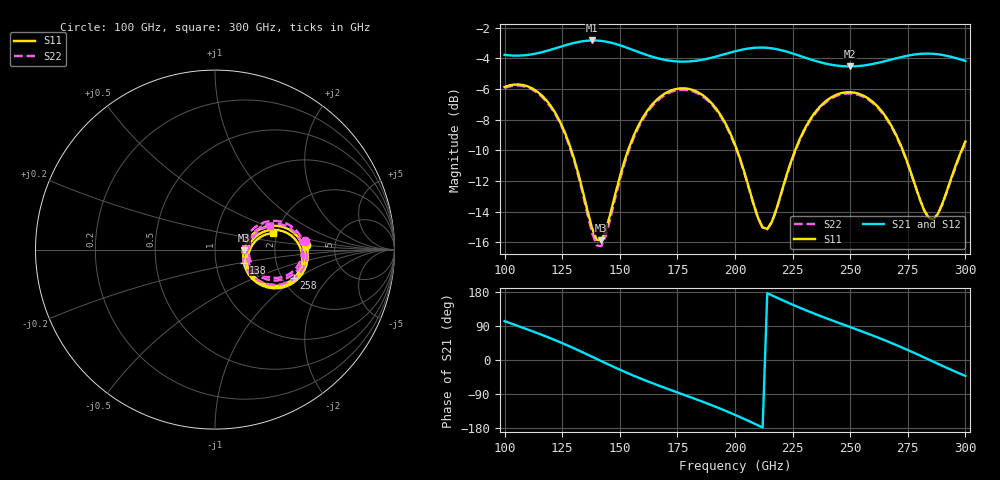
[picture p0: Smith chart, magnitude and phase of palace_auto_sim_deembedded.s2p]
! Created with skrf 1.11.0 (http://scikit-rf.org).
# GHz S DB R 50.0
!freq dBS11 angS11 dBS21 angS21 dBS12 angS12 dBS22 angS22
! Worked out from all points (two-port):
!   101 points, 100 GHz to 300 GHz, reference 50 ohm
!   highest |S21| = -2.83 dB at 138 GHz (marker M1); lowest = -4.5 dB at 250 GHz (marker M2)
!   |S21| within 3 dB of the highest: start of sweep to end of sweep
!   lowest |S11| = -15.9 dB at 142 GHz (marker M3), VSWR 1.38, Z = 69.2 - j0.423 ohm
!   |S11| at or under -10 dB: 129 GHz to 153.6 GHz (24.63 GHz wide, 17.4 % of centre); 200.9 GHz to 226.1 GHz (25.19 GHz wide, 11.8 % of centre); 272.8 GHz to 298.3 GHz (25.52 GHz wide, 8.94 % of centre)
!   |S22| runs from -16.2 to -5.8 dB; largest |S21 - S12| = 7.9e-14
!   S11 on the Smith chart (normalised r, x): 100 GHz: 3.06, +0.21; 138 GHz: 1.36, -0.20; 258 GHz: 2.29, -0.94; 300 GHz: 1.91, +0.39
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100  -5.87 2.9  -3.77 102.5  -3.77 102.5  -5.94 5.6
108  -5.74 -9.6  -3.81 84.9  -3.81 84.9  -5.81 -6.8
118  -6.71 -25.0  -3.53 62.0  -3.53 62.0  -6.79 -22.1
126  -8.78 -35.6  -3.16 41.9  -3.16 41.9  -8.87 -32.7
134  -12.70 -36.3  -2.88 20.0  -2.88 20.0  -12.88 -33.6
138  -15.10 -24.4  -2.83 8.5  -2.83 8.5  -15.39 -21.6
142  -15.87 -1.1  -2.86 -3.0  -2.86 -3.0  -16.25 2.9
154  -9.82 23.7  -3.36 -36.1  -3.36 -36.1  -9.98 28.9
168  -6.45 6.9  -4.05 -70.0  -4.05 -70.0  -6.56 12.2
176  -5.96 -4.8  -4.21 -87.8  -4.21 -87.8  -6.05 0.6
186  -6.40 -19.6  -4.09 -110.2  -4.09 -110.2  -6.49 -14.0
200  -9.63 -36.0  -3.54 -144.8  -3.54 -144.8  -9.70 -30.1
210  -14.41 -23.9  -3.30 -172.4  -3.30 -172.4  -14.44 -17.8
214  -15.12 -4.7  -3.31 176.3  -3.31 176.3  -15.15 1.3
224  -10.87 20.1  -3.63 148.7  -3.63 148.7  -10.94 26.3
234  -7.68 12.8  -4.13 123.4  -4.13 123.4  -7.75 19.3
250  -6.21 -8.9  -4.53 86.8  -4.53 86.8  -6.29 -2.1
258  -6.63 -20.1  -4.42 68.7  -4.42 68.7  -6.71 -13.0
268  -8.43 -32.2  -4.07 44.6  -4.07 44.6  -8.49 -24.9
278  -12.19 -32.8  -3.75 18.1  -3.75 18.1  -12.22 -25.4
286  -14.49 -7.0  -3.70 -4.2  -3.70 -4.2  -14.51 0.2
300  -9.43 15.7  -4.17 -42.0  -4.17 -42.0  -9.52 23.1
